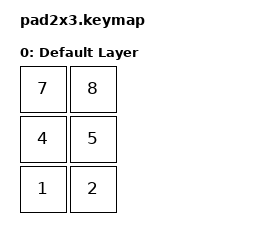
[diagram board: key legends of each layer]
/*
 * Copyright (c) 2024 Satoru NAKAYA
 *
 * SPDX-License-Identifier: MIT
 */

#include <behaviors.dtsi>
#include <dt-bindings/zmk/keys.h>
#include <dt-bindings/zmk/bt.h>
#include <dt-bindings/zmk/outputs.h>

/ {
    keymap {
        compatible = "zmk,keymap";

        default_layer {
            display-name = "Default Layer";
            bindings = <
                &kp N7 &kp N8
                &kp N4 &kp N5
                &kp N1 &kp N2
            >;
        };
    };
};
